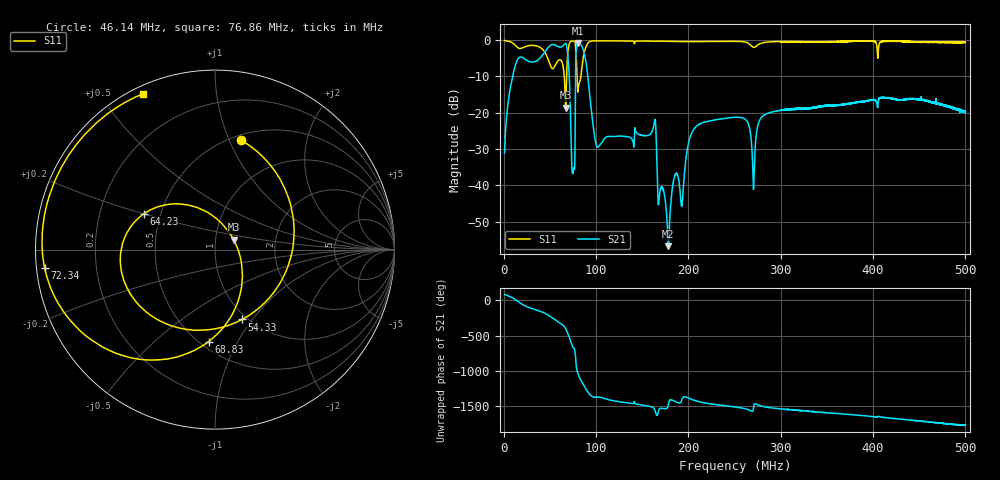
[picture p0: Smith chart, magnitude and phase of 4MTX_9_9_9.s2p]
! NanoVNA-App
! Date: 2026-08-18 20:58:23
! Start: 1MHz Stop: 500MHz Points: 6401
! S-Parameter data: F S11 S21 S12 S22
# Hz S RI R 50
!  Frequency  S11_Real  S11_Imag  S21_Real  S21_Imag  S12_Real  S12_Imag  S22_Real  S22_Imag
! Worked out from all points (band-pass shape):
!   6401 points, 1 MHz to 500 MHz, reference 50 ohm
!   highest |S21| = -0.90 dB at 80.45 MHz (marker M1); lowest = -56.7 dB at 178.3 MHz (marker M2)
!   |S21| within 3 dB of the highest: 42.81 MHz to 69.34 MHz (26.53 MHz wide, 47.3 % of centre); 78.14 MHz to 87.44 MHz (9.308 MHz wide, 11.2 % of centre)
!   lowest |S11| = -18.6 dB at 67.12 MHz (marker M3), VSWR 1.27, Z = 61.1 + j6.83 ohm
!   |S11| at or under -10 dB: 65.6 MHz to 68.13 MHz (2.53 MHz wide, 3.78 % of centre); 79.43 MHz to 83.56 MHz (4.136 MHz wide, 5.07 % of centre)
!   S12 and S22 are empty: the file has one direction only
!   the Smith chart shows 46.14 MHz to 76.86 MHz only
!   S11 on the Smith chart (normalised r, x): 46.14 MHz: 0.55, +1.11; 54.33 MHz: 0.95, -0.89; 64.23 MHz: 0.40, +0.20; 68.83 MHz: 0.55, -0.77; 72.34 MHz: 0.02, -0.05; 76.86 MHz: 0.03, +0.64
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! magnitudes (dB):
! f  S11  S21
! 1 MHz  -0.1  -31.1
! 14.49 MHz  -1.9  -5.6
! 46.14 MHz  -4.0  -2.7
! 54.33 MHz  -7.6  -1.3
! 64.23 MHz  -7.0  -1.6
! 67.12 MHz  -18.6  -0.9
! 68.83 MHz  -5.8  -2.7
! 72.34 MHz  -0.4  -20.2
! 74.91 MHz  -0.3  -36.7
! 76.86 MHz  -0.4  -35.2
! 80.45 MHz  -14.1  -0.9
! 84.19 MHz  -8.7  -1.4
! 101.1 MHz  -0.2  -29.4
! 162.6 MHz  -0.3  -23.5
! 167.4 MHz  -0.3  -45.2
! 178.3 MHz  -0.3  -56.7
! 205.5 MHz  -0.4  -24.7
! 250.5 MHz  -0.4  -21.2
! 270.5 MHz  -2.0  -41.1
! 333.7 MHz  -0.5  -18.5
! 416.9 MHz  -0.3  -16.0
! 500 MHz  -0.6  -19.7
